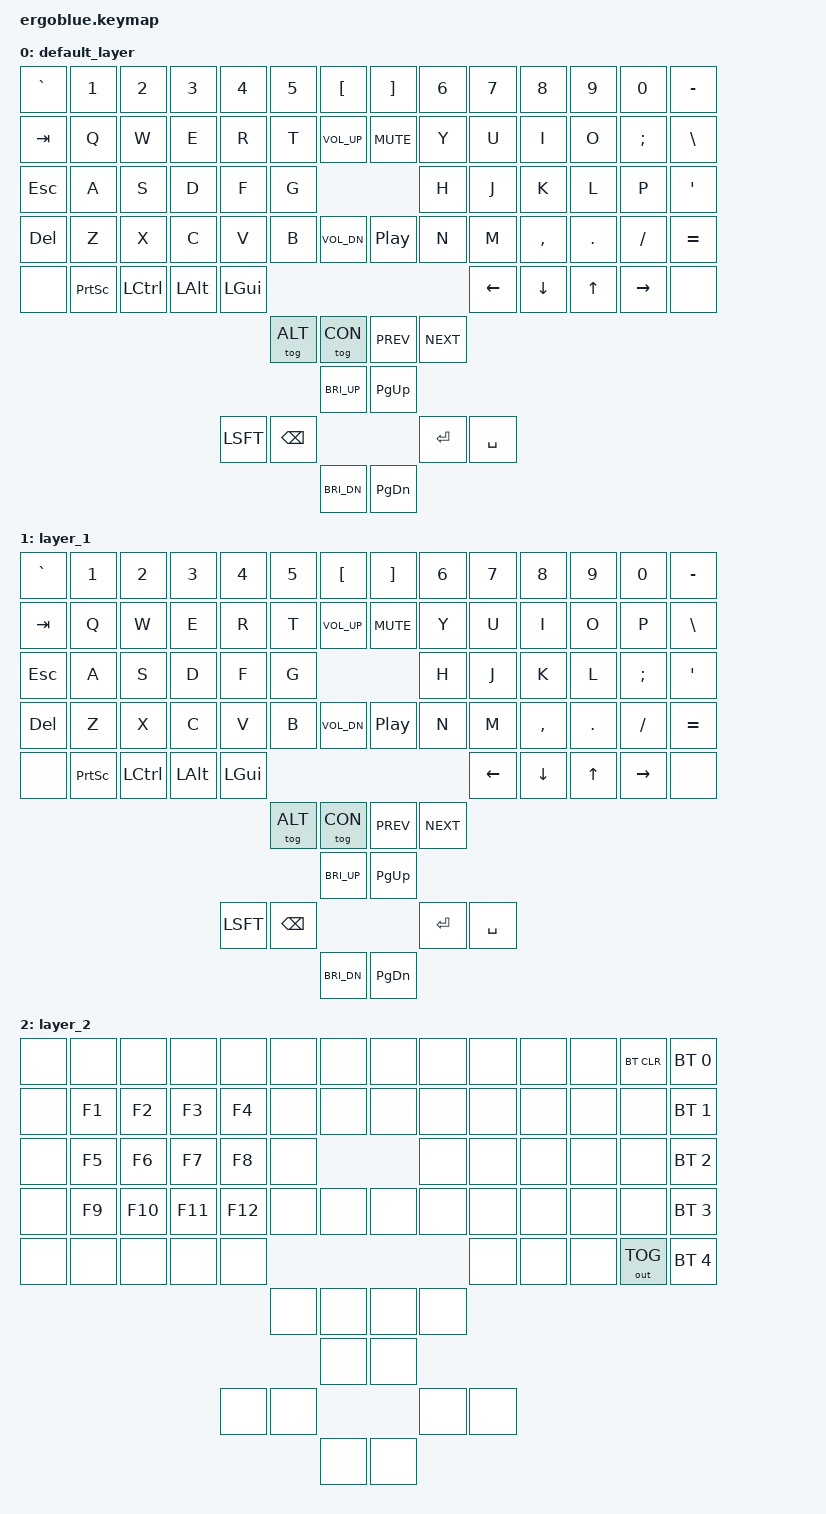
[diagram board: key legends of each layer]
#include <behaviors.dtsi>
#include <dt-bindings/zmk/keys.h>
#include <dt-bindings/zmk/bt.h>
#include <dt-bindings/zmk/outputs.h>

#define DEF 0
#define ALT 1
#define CON 2

/ {
        keymap {
                compatible = "zmk,keymap";

                default_layer {
                        bindings = <
    &kp GRAV   &kp NUM_1  &kp NUM_2  &kp NUM_3  &kp NUM_4  &kp NUM_5  &kp LBKT       &kp RBKT   &kp NUM_6  &kp NUM_7  &kp NUM_8  &kp NUM_9  &kp NUM_0  &kp MINUS
    &kp TAB    &kp Q      &kp W      &kp E      &kp R      &kp T      &kp C_VOL_UP   &kp C_MUTE &kp Y      &kp U      &kp I      &kp O      &kp SCLN   &kp BSLH
    &kp ESC    &kp A      &kp S      &kp D      &kp F      &kp G                                &kp H      &kp J      &kp K      &kp L      &kp P      &kp APOS
    &kp DEL    &kp Z      &kp X      &kp C      &kp V      &kp B      &kp C_VOL_DN   &kp C_PP   &kp N      &kp M      &kp COMMA  &kp DOT    &kp FSLH   &kp EQUAL
    &none      &kp PSCRN  &kp LCTRL  &kp LALT   &kp LGUI                                                   &kp LEFT   &kp DOWN   &kp UP     &kp RIGHT  &none
                                                           &tog ALT   &tog CON       &kp C_PREV &kp C_NEXT
                                                                      &kp C_BRI_UP   &kp PG_UP
                                                &kp LSFT   &kp BSPC                             &kp RETURN &kp SPACE
                                                                      &kp C_BRI_DN   &kp PG_DN
                        >;
                };

                layer_1 {
                        bindings = <
    &kp GRAV   &kp NUM_1  &kp NUM_2  &kp NUM_3  &kp NUM_4  &kp NUM_5  &kp LBKT       &kp RBKT   &kp NUM_6  &kp NUM_7  &kp NUM_8  &kp NUM_9  &kp NUM_0  &kp MINUS
    &kp TAB    &kp Q      &kp W      &kp E      &kp R      &kp T      &kp C_VOL_UP   &kp C_MUTE &kp Y      &kp U      &kp I      &kp O      &kp P      &kp BSLH
    &kp ESC    &kp A      &kp S      &kp D      &kp F      &kp G                                &kp H      &kp J      &kp K      &kp L      &kp SCLN   &kp APOS
    &kp DEL    &kp Z      &kp X      &kp C      &kp V      &kp B      &kp C_VOL_DN   &kp C_PP   &kp N      &kp M      &kp COMMA  &kp DOT    &kp FSLH   &kp EQUAL
    &none      &kp PSCRN  &kp LCTRL  &kp LALT   &kp LGUI                                                   &kp LEFT   &kp DOWN   &kp UP     &kp RIGHT  &none
                                                           &tog ALT   &tog CON       &kp C_PREV &kp C_NEXT
                                                                      &kp C_BRI_UP   &kp PG_UP
                                                &kp LSFT   &kp BSPC                             &kp RETURN &kp SPACE
                                                                      &kp C_BRI_DN   &kp PG_DN
                        >;
                };

                layer_2 {
                        bindings = <
    &none      &none      &none      &none      &none      &none      &none      &none      &none      &none      &none      &none      &bt BT_CLR   &bt BT_SEL 0
    &none      &kp F1     &kp F2     &kp F3     &kp F4     &none      &none      &none      &none      &none      &none      &none      &none        &bt BT_SEL 1
    &none      &kp F5     &kp F6     &kp F7     &kp F8     &none                            &none      &none      &none      &none      &none        &bt BT_SEL 2
    &none      &kp F9     &kp F10    &kp F11    &kp F12    &none      &none      &none      &none      &none      &none      &none      &none        &bt BT_SEL 3
    &none      &none      &none      &none      &none                                                  &none      &none      &none      &out OUT_TOG &bt BT_SEL 4
                                                           &none      &none      &none      &none 
                                                                      &none      &none 
                                                &none      &none                            &none      &none 
                                                                      &none      &none 
                        >;
                };
        };
};
